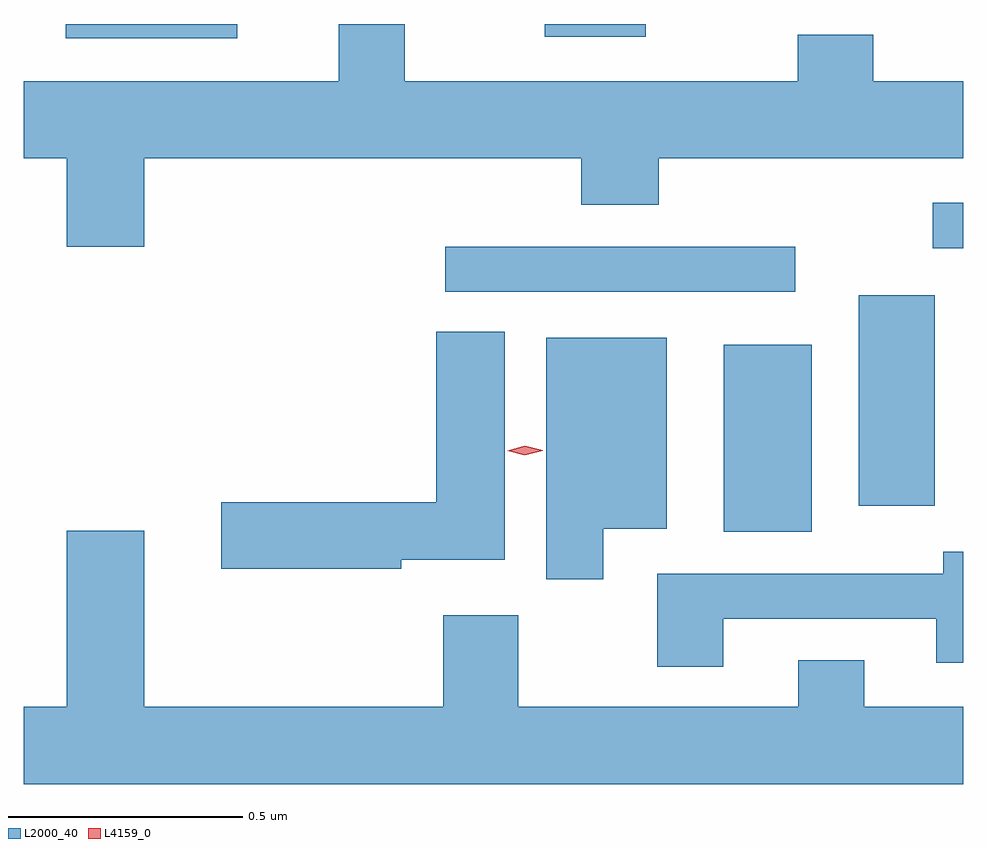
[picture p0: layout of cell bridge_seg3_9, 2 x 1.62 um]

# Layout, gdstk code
import gdstk
lib = gdstk.Library(unit=1e-6, precision=1e-09)
def R(c, l, rs):  # rectangles x0, y0, x1, y1
    for r in rs: c.add(gdstk.rectangle(r[:2], r[2:], *l))
def P(c, l, *ps):  # polygons
    for p in ps: c.add(gdstk.Polygon(p, *l))
L2000_40 = (2000, 40)
L4159_0 = (4159, 0)

bridge_seg3_9 = lib.new_cell('bridge_seg3_9')
R(bridge_seg3_9, L2000_40, [(693.878,736.085,694.066,736.483), (694.166,736.14,694.327,736.588), (693.285,736.596,694.03,736.692), (694.323,736.689,694.388,736.785), (692.477,737.136,692.842,737.166), (693.497,737.139,693.712,737.166)])
P(bridge_seg3_9, L2000_40, [(692.644,736.88),(693.575,736.88),(693.575,736.781),(693.74,736.781),(693.74,736.88),(694.388,736.88),(694.388,737.044),(694.196,737.044),(694.196,737.143),(694.036,737.143),(694.036,737.044),(693.199,737.044),(693.199,737.166),(693.059,737.166),(693.059,737.044),(692.388,737.044),(692.388,736.88),(692.48,736.88),(692.48,736.692),(692.644,736.692)],
  [(693.192,736.025),(693.412,736.025),(693.412,736.511),(693.266,736.511),(693.266,736.148),(692.808,736.148),(692.808,736.006),(693.192,736.006)],
  [(693.622,736.091),(693.757,736.091),(693.757,736.498),(693.5,736.498),(693.5,735.984),(693.622,735.984)],
  [(692.48,736.087),(692.48,735.712),(692.388,735.712),(692.388,735.548),(694.388,735.548),(694.388,735.712),(694.177,735.712),(694.177,735.811),(694.037,735.811),(694.037,735.712),(693.441,735.712),(693.441,735.907),(693.281,735.907),(693.281,735.712),(692.644,735.712),(692.644,736.087)],
  [(693.877,735.9),(694.331,735.9),(694.331,735.806),(694.388,735.806),(694.388,736.042),(694.346,736.042),(694.346,735.996),(693.737,735.996),(693.737,735.798),(693.877,735.798)])
P(bridge_seg3_9, L4159_0, [(693.455,736.248),(693.417,736.258),(693.417,736.258),(693.417,736.258),(693.455,736.268),(693.493,736.259),(693.493,736.258),(693.493,736.258)])

lib.write_gds('bridge_seg3_9.gds')
